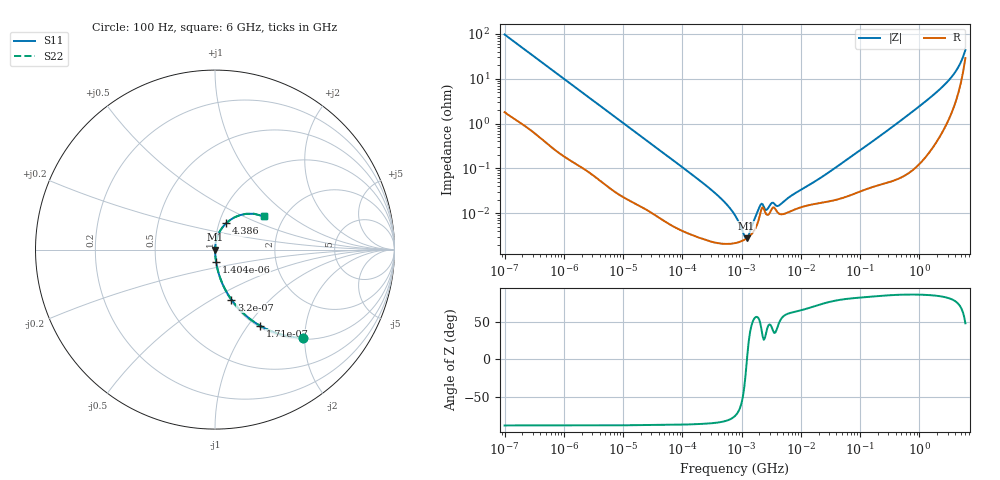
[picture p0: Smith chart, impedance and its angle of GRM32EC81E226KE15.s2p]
!Murata Part Number: GRM32EC81E226KE15
!These Parameters are Measured in Series Mode Connection
!Data Generated on Mar 30, 2021
!  o--ll--o
!Port1  Port2
!  o------o
!Operation Temp=25[degC], DC Bias Voltage=0[V]
!Freq. Start=100[Hz] Stop=6[GHz] 401[Steps]
# Hz S RI R 50
!Freq.(Hz) S11(Real) S11(Imag) S21(Real) S21(Imag) S12(Real) S12(Imag) S22(Real) S22(Imag)
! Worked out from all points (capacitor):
!   401 points, 100 Hz to 6 GHz, reference 50 ohm
!   read as one part in series: C = 16.3 uF near 109 Hz
!   lowest |Z| = 2.76 mohm at 1.212 MHz (marker M1)
!   series resonance near 1.233 MHz, so ESL is about 1 nH
!   S11 on the Smith chart (normalised r, x): 100 Hz: 1.04, -1.95; 171 Hz: 1.02, -1.15; 320 Hz: 1.01, -0.62; 1.404 kHz: 1.00, -0.14; 4.386 GHz: 1.08, +0.32; 6 GHz: 1.58, +0.66
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100  0.488 -0.4907  0.512 0.4907  0.512 0.4907  0.488 -0.4907
171  0.2517 -0.4245  0.7483 0.4245  0.7483 0.4245  0.2517 -0.4245
320  0.0918 -0.279  0.9082 0.279  0.9082 0.279  0.0918 -0.279
627  0.0274 -0.1544  0.9726 0.1544  0.9726 0.1544  0.0274 -0.1544
1404  0.00649 -0.0711  0.9935 0.0711  0.9935 0.0711  0.00649 -0.0711
2008  0.00356 -0.0501  0.9964 0.0501  0.9964 0.0501  0.00356 -0.0501
40335  8.66e-05 -0.00261  0.9999 0.00261  0.9999 0.00261  8.66e-05 -0.00261
289253  2.39e-05 -0.000356  1 0.000356  1 0.000356  2.39e-05 -0.000356
774597  2.15e-05 -8.75e-05  1 8.75e-05  1 8.75e-05  2.15e-05 -8.75e-05
1212075  2.74e-05 -3.2e-06  1 3.2e-06  1 3.2e-06  2.74e-05 -3.2e-06
1734173  4.75e-05 7.27e-05  1 -7.27e-05  1 -7.27e-05  4.75e-05 7.27e-05
2169299  0.000125 0.000105  0.9999 -0.000105  0.9999 -0.000105  0.000125 0.000105
2594782  9.6e-05 6.87e-05  0.9999 -6.87e-05  0.9999 -6.87e-05  9.6e-05 6.87e-05
3245845  0.000125 0.000116  0.9999 -0.000116  0.9999 -0.000116  0.000125 0.000116
4246196  9.88e-05 0.00011  0.9999 -0.00011  0.9999 -0.00011  9.88e-05 0.00011
7266822  0.000116 0.00023  0.9999 -0.00023  0.9999 -0.00023  0.000116 0.00023
1.555665e7  0.000157 0.000443  0.9998 -0.000443  0.9998 -0.000443  0.000157 0.000443
3.124326e8  0.000552 0.00753  0.9994 -0.00753  0.9994 -0.00753  0.000552 0.00753
1.95892e9  0.00639 0.0497  0.9936 -0.0497  0.9936 -0.0497  0.00639 0.0497
3.205649e9  0.0215 0.0913  0.9785 -0.0913  0.9785 -0.0913  0.0215 0.0913
4.385646e9  0.0616 0.1462  0.9384 -0.1462  0.9384 -0.1462  0.0616 0.1462
6e9  0.2724 0.1852  0.7276 -0.1852  0.7276 -0.1852  0.2724 0.1852
